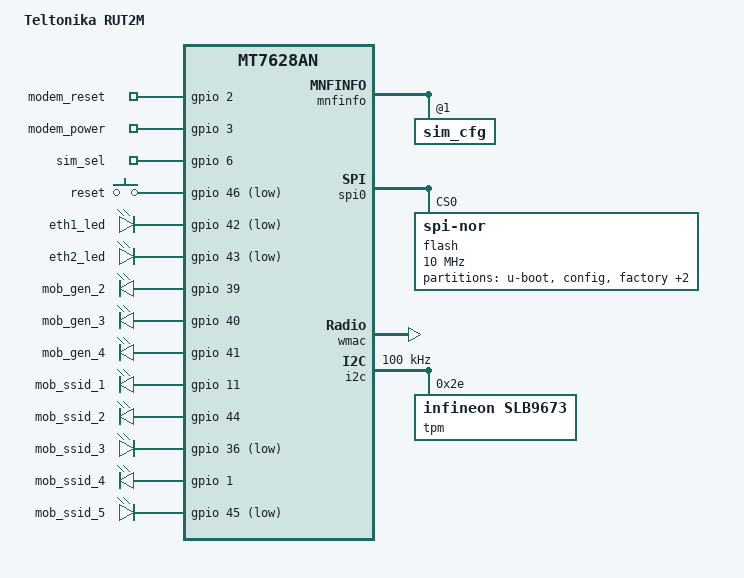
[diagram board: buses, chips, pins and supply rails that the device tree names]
// SPDX-License-Identifier: GPL-2.0-or-later OR MIT
/dts-v1/;

#include <dt-bindings/input/input.h>
#include <dt-bindings/gpio/gpio.h>
#include "mt7628an.dtsi"
#include "platform_name.dtsi"

/ {
	compatible = "teltonika,rut2m", "mediatek,mt7628an-soc";
	model = "Teltonika RUT2M";

	chosen {
		bootargs = "console=ttyS0,115200 root=/dev/mtdblock5";
	};

	gpio-export {
		compatible = "gpio-export";
		#size-cells = <0>;

		gpio_modem_reset {
			gpio-export,name = "modem_reset";
			gpio-export,output = <0>;
			gpios = <&gpio 2 GPIO_ACTIVE_HIGH>;
		};

		gpio_modem_power {
			gpio-export,name = "modem_power";
			gpio-export,output = <0>;
			gpios = <&gpio 3 GPIO_ACTIVE_HIGH>;
		};

		gpio_sim_select {
			tlt-mnf,device = "RUT241", "RUT200";
			gpio-export,name = "sim_sel";
			gpio-export,output = <0>;
			gpios = <&gpio 6 GPIO_ACTIVE_HIGH>;
		};
	};

	keys {
		compatible = "gpio-keys";

		reset {
			label = "reset";
			gpios = <&gpio 46 GPIO_ACTIVE_LOW>;
			linux,code = <KEY_RESTART>;
		};
	};

	leds {
		compatible = "gpio-leds";

		eth1_led {
			label = "eth1_led";
			gpios = <&gpio 42 GPIO_ACTIVE_LOW>;
		};

		eth2_led {
			label = "eth2_led";
			gpios = <&gpio 43 GPIO_ACTIVE_LOW>;
		};

		led_gen_2 {
			label = "mob_gen_2";
			gpios = <&gpio 39 GPIO_ACTIVE_HIGH>;
		};

		led_gen_3 {
			label = "mob_gen_3";
			gpios = <&gpio 40 GPIO_ACTIVE_HIGH>;
		};

		led_gen_4 {
			label = "mob_gen_4";
			gpios = <&gpio 41 GPIO_ACTIVE_HIGH>;
		};

		led_ssid_1 {
			label = "mob_ssid_1";
			gpios = <&gpio 11 GPIO_ACTIVE_HIGH>;
			linux,default-trigger = "timer";
		};

		led_ssid_2 {
			label = "mob_ssid_2";
			gpios = <&gpio 44 GPIO_ACTIVE_HIGH>;
			linux,default-trigger = "timer";
		};

		led_ssid_3 {
			label = "mob_ssid_3";
			gpios = <&gpio 36 GPIO_ACTIVE_LOW>;
			linux,default-trigger = "timer";
		};

		led_ssid_4 {
			label = "mob_ssid_4";
			gpios = <&gpio 1 GPIO_ACTIVE_HIGH>;
			linux,default-trigger = "timer";
		};

		led_ssid_5 {
			label = "mob_ssid_5";
			gpios = <&gpio 45 GPIO_ACTIVE_LOW>;
			linux,default-trigger = "timer";
		};

	};

	tlt_gpios { // Modify according to wiki page "DTS syntax with Libgpiod changes"
		gpiochip_info {
			hw_0 {
				hwver = <0>;
				gpiochip_count = <3>;

				gpiochip_0 = <32>; // Built-in
				gpiochip_1 = <32>; // Built-in
				gpiochip_2 = <32>; // Built-in
			};
		};

		ioman {
			GPIO_4 {
				compatible_model_0 = "RUT260";
				compatible_versions_0 = <0 2>;
				line_name_0 = "GPIO_IN_1";

				compatible_model_1 = "RUT200", "RUT241";
				compatible_versions_1 = <0 4>;
				line_name_1 = "GPIO_IN_1";
			};
			GPIO_0 {
				compatible_model_0 = "RUT260";
				compatible_versions_0 = <3 99>;
				line_name_0 = "GPIO_IN_1";

				compatible_model_1 = "RUT200", "RUT241";
				compatible_versions_1 = <5 99>;
				line_name_1 = "GPIO_IN_1";
			};
			GPIO_5 {
				compatible_model_0 = "RUT260";
				compatible_versions_0 = <0 2>;
				line_name_0 = "GPIO_OUT_1";

				compatible_model_1 = "RUT200", "RUT241";
				compatible_versions_1 = <0 4>;
				line_name_1 = "GPIO_OUT_1";
			};
			GPIO_6 {
				compatible_model = "RUT260";
				compatible_versions = <3 99>;
				line_name = "GPIO_OUT_1";
			};
			GPIO_37 {
				compatible_model = "RUT200", "RUT241";
				compatible_versions = <5 99>;
				line_name = "GPIO_OUT_1";
			};
		};

		misc {
			GPIO_2 {
				line_name = "GPIO_MODEM_RESET_1";
			};
			GPIO_3 {
				line_name = "GPIO_MODEM_POWER_1";
			};
		};
	};

	ioman {
		layout@0{
			io@0 { // 4pin #3
				label = "din1";
				block_type = BLOCK_4PIN;
				block_pin = "3";
				gpio_in = "GPIO_IN_1";
				io_param = "g0";
			};
			io@1 { // 4pin #4
				label = "dout1";
				block_type = BLOCK_4PIN;
				block_pin = "4";
				gpio_out = "GPIO_OUT_1";
				io_param = "g1";
			};
		};
	};
};

&mnfinfo {
	simpin1 {
		default = "";
		sec;
	};

	simpin2 {
		default = "";
		sec;
	};

	sim_count {
		default =  "1";
	};

	sim_cfg {
		default = "2111000";
	};

	sim_cfg@1 {
		tlt-mnf,device = "RUT241", "RUT200";
		tlt-mnf,hwver = <400 499>;
		reg = <&config 0x110 0x20>;
		type = "simcfg";
		default = "2111010";
	};

//		RUT241 V5 with esim
//		default = "2111010_2122010";

};

&state_default {
	gpio {
		groups = "i2s", "uart1", "p4led_an", "p3led_an", "p2led_an", "p1led_an", "p0led_an", "gpio", "wled_an", "perst", "spi cs1";
		function = "gpio";
	};
};

&spi0 {
	status = "okay";

	flash@0 {
		compatible = "jedec,spi-nor";
		reg = <0>;
		spi-max-frequency = <10000000>;

		partitions {
			compatible = "fixed-partitions";
			#address-cells = <1>;
			#size-cells = <1>;

			boot: partition@0 {
				label = "u-boot";
				reg = <0x0 0x20000>;
				read-only;
			};

			config: partition@20000 {
				compatible = "nvmem-cells";
				#address-cells = <1>;
				#size-cells = <1>;

				label = "config";
				reg = <0x020000 0x010000>;
				read-only;

				macaddr_config_0: macaddr@0 {
					reg = <0x0 0x6>;
				};
			};

			factory: partition@30000 {
				label = "factory";
				reg = <0x030000 0x030000>;
				read-only;
			};

			partition@60000 {
				compatible = "denx,uimage";
				label = "firmware";
				reg = <0x060000 0xf10000>;
			};

			partition@f70000 {
				label = "event-log";
				reg = <0xf70000 0x90000>;
			};
		};
	};
};

&wmac {
	status = "okay";
	nvmem-cells = <&macaddr_config_0>;
	nvmem-cell-names = "mac-address";
	mac-address-increment = <2>;
	mediatek,mtd-eeprom = <&factory 0x20000>;
};

&ethernet {
	nvmem-cells = <&macaddr_config_0>;
	nvmem-cell-names = "mac-address";
};

&esw {
	mediatek,portmap = <0x3e>;
};

&i2c {
	status = "okay";
	clock-frequency = <100000>;
	tlt-mnf,device = "RUT241", "RUT200";
	tlt-mnf,hwver = <500 9999>;

	tpm: tpm@2e {
		compatible = "infineon,slb9673";
		reg = <0x2e>;
		status = "okay";
	};
};
